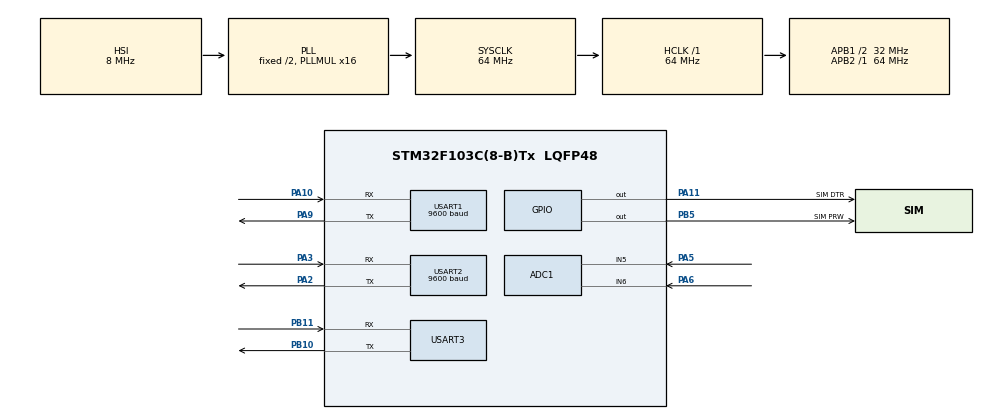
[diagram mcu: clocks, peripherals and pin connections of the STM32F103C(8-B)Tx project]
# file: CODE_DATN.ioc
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ADC1.Channel-0\#ChannelRegularConversion=ADC_CHANNEL_5
ADC1.Channel-1\#ChannelRegularConversion=ADC_CHANNEL_6
ADC1.ContinuousConvMode=ENABLE
ADC1.NbrOfConversion=2
ADC1.NbrOfConversionFlag=1
ADC1.Rank-0\#ChannelRegularConversion=1
ADC1.Rank-1\#ChannelRegularConversion=2
ADC1.SamplingTime-0\#ChannelRegularConversion=ADC_SAMPLETIME_239CYCLES_5
ADC1.SamplingTime-1\#ChannelRegularConversion=ADC_SAMPLETIME_239CYCLES_5
ADC1.master=1
Dma.ADC1.0.Direction=DMA_PERIPH_TO_MEMORY
Dma.ADC1.0.Instance=DMA1_Channel1
Dma.ADC1.0.MemDataAlignment=DMA_MDATAALIGN_HALFWORD
Dma.ADC1.0.MemInc=DMA_MINC_ENABLE
Dma.ADC1.0.Mode=DMA_CIRCULAR
Dma.ADC1.0.PeriphDataAlignment=DMA_PDATAALIGN_HALFWORD
Dma.ADC1.0.PeriphInc=DMA_PINC_DISABLE
Dma.ADC1.0.Priority=DMA_PRIORITY_LOW
Dma.Request0=ADC1
Mcu.Family=STM32F1
Mcu.Name=STM32F103C(8-B)Tx
Mcu.Package=LQFP48
NVIC.DMA1_Channel1_IRQn=true\:0\:0\:false\:false\:true\:false\:true\:true
NVIC.PriorityGroup=NVIC_PRIORITYGROUP_4
NVIC.USART1_IRQn=true\:0\:0\:false\:false\:true\:true\:true\:true
NVIC.USART2_IRQn=true\:0\:0\:false\:false\:true\:true\:true\:true
NVIC.USART3_IRQn=true\:0\:0\:false\:false\:true\:true\:true\:true
PA10.Mode=Asynchronous
PA10.Signal=USART1_RX
PA11.GPIO_Label=SIM DTR
PA11.Signal=GPIO_Output
PA2.Mode=Asynchronous
PA2.Signal=USART2_TX
PA3.Mode=Asynchronous
PA3.Signal=USART2_RX
PA5.Signal=ADCx_IN5
PA6.Signal=ADCx_IN6
PA9.Mode=Asynchronous
PA9.Signal=USART1_TX
PB10.Mode=Asynchronous
PB10.Signal=USART3_TX
PB11.Mode=Asynchronous
PB11.Signal=USART3_RX
PB5.GPIO_Label=SIM PRW
PB5.Signal=GPIO_Output
ProjectManager.HeapSize=0x200
ProjectManager.StackSize=0x400
ProjectManager.TargetToolchain=MDK-ARM V5.32
RCC.ADCPresc=RCC_ADCPCLK2_DIV6
RCC.AHBFreq_Value=64000000
RCC.APB1CLKDivider=RCC_HCLK_DIV2
RCC.APB1Freq_Value=32000000
RCC.APB1TimFreq_Value=64000000
RCC.APB2Freq_Value=64000000
RCC.APB2TimFreq_Value=64000000
RCC.HCLKFreq_Value=64000000
RCC.PLLMUL=RCC_PLL_MUL16
RCC.SYSCLKFreq_VALUE=64000000
RCC.SYSCLKSource=RCC_SYSCLKSOURCE_PLLCLK
RCC.USBFreq_Value=64000000
SH.ADCx_IN5.0=ADC1_IN5,IN5
SH.ADCx_IN6.0=ADC1_IN6,IN6
USART1.BaudRate=9600
USART1.VirtualMode=VM_ASYNC
USART2.BaudRate=9600
USART2.VirtualMode=VM_ASYNC
USART3.VirtualMode=VM_ASYNC
VP_SYS_VS_ND.Mode=No_Debug
board=custom

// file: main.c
/* USER CODE BEGIN Header */
/**
  ******************************************************************************
  * @file           : main.c
  * @brief          : Main program body
  ******************************************************************************
  * @attention
  *
  * Copyright (c) 2024 STMicroelectronics.
  * All rights reserved.
  *
  * This software is licensed under terms that can be found in the LICENSE file
  * in the root directory of this software component.
  * If no LICENSE file comes with this software, it is provided AS-IS.
  *
  ******************************************************************************
  */
/* USER CODE END Header */
#include "main.h"

/* USER CODE BEGIN Includes */
#include "stdio.h"
#include <math.h>
#include <string.h>
/* USER CODE END Includes */

/* USER CODE BEGIN PD */
#define V_CC 5
#define RO 2.12
#define RL 10
/* USER CODE END PD */

ADC_HandleTypeDef hadc1;
DMA_HandleTypeDef hdma_adc1;

UART_HandleTypeDef huart1;
UART_HandleTypeDef huart2;
UART_HandleTypeDef huart3;

/* USER CODE BEGIN PV */
uint8_t state=0;

uint8_t Rx_dataDust[32];
uint8_t PmsTransfer_cplt = 0;
uint8_t inFrame = 0;
uint8_t detectOff = 0;
unsigned char Buff_Sensor[32];
uint8_t txData[12];
uint8_t frameLen;
char message[20];
uint32_t PM1_0_temp;
uint32_t PM2_5_temp;
uint32_t PM10_0_temp;

uint16_t var,dem=0;
double volts,first;
uint16_t peak=0;
uint16_t max=0;
uint16_t min=4096;
char buffer[50];
char sound_char[20];
float sound_level,value,sum,TB;
uint16_t adc[2];
float RS;
float CO=0;
	float CO_ppm (uint16_t adc_value)
{
	float VRL = adc_value * (V_CC / 4096.0);
	float RS = ((V_CC / VRL)-1)*RL;
	float ratio = RS/RO;
	float ppm = pow ((19.709/ratio), (1/0.652));
	return ppm;
}
 float MAX4466 ( uint16_t var)
 {
							if (var < 4096)
							{
								if (var > max)
								{
									max = var;
								}
								else if (var < min)
								{
									min = var;
								}
							}
							peak = max - min;
					volts=((peak*3.3)/4096)*0.707;
					first=log10(volts/0.00631)*20;
					return sound_level=first+1.;
					max=0;
					min=4096;
 }
/* USER CODE END PV */

void SystemClock_Config(void);
static void MX_GPIO_Init(void);
static void MX_DMA_Init(void);
static void MX_ADC1_Init(void);
static void MX_USART1_UART_Init(void);
static void MX_USART2_UART_Init(void);
static void MX_USART3_UART_Init(void);

/* USER CODE BEGIN 0 */
struct ValueSensor
{
	uint32_t PM1;		// um/g
	uint32_t PM2_5;	// um/g
	uint32_t PM10_0;	// um/g
	uint32_t CO;
	uint32_t Sound;
} ;
struct ValueSensor 		ValueSensor_t;

void HAL_UART_RxCpltCallback(UART_HandleTypeDef *huart)
{
    //-Interrupt-Function-for-Read-DUST-Data-------------------------------------------------------------------//
    if (huart->Instance == USART2)
    {
        HAL_UART_Receive_IT(&huart2, (uint8_t *)Rx_dataDust, 1);

        if (inFrame == 0)
        {
            if (Rx_dataDust[0] == 0x42 && detectOff == 0)
            {
                Buff_Sensor[detectOff] = Rx_dataDust[0];
                detectOff++;
            }
            else if (Rx_dataDust[0] == 0x4D && detectOff == 1)
            {
                Buff_Sensor[detectOff] = Rx_dataDust[0];
                inFrame = 1;
                detectOff++;
            }
        }
        else
        {
            Buff_Sensor[detectOff] = Rx_dataDust[0];
            detectOff++;
            frameLen = Buff_Sensor[3] + (Buff_Sensor[2] << 8) + 4;
            if (detectOff >= frameLen)
            {
                PmsTransfer_cplt = 1;
            }
        }
    }
}

int CheckSumFuncDust(unsigned char *buf)
{
    int checkSum = (buf[30] << 8) + buf[31];
    int sum = 0x42;
    for (int i = 1; i < 30; i++)
    {
        sum = sum + buf[i];
    }
    return sum == checkSum;
}

void getPMAS007_Value()
{

		ValueSensor_t.PM1    = 0;
		ValueSensor_t.PM2_5  = 0;
		ValueSensor_t.PM10_0 = 0;
    if (PmsTransfer_cplt == 1)
    {
        if (CheckSumFuncDust(Buff_Sensor))
        {
            // Extract and process data here
            // Example:
						PM1_0_temp 	= Buff_Sensor[11]+(Buff_Sensor[10]<<8);
						PM2_5_temp	= Buff_Sensor[13]+(Buff_Sensor[12]<<8);
						PM10_0_temp 	= Buff_Sensor[15]+(Buff_Sensor[14]<<8);
						detectOff = 0;
						inFrame = 0;
						PmsTransfer_cplt =0;
						ValueSensor_t.PM1 		=	PM1_0_temp;
						ValueSensor_t.PM2_5		=	PM2_5_temp;
						ValueSensor_t.PM10_0	= PM10_0_temp;

        }
        //printf("Pm1(ug/m3)     : %d\r\n", ValueSensor_t.PM1);
				//printf("Pm2_5(ug/m3)   : %d\r\n", ValueSensor_t.PM2_5);
				//printf("Pm10_0(ug/m3)  : %d\r\n", ValueSensor_t.PM10_0);
				//char buffer[50];
				//sprintf(buffer, "PM1: %u, PM2.5: %u, PM10: %u\n", PM1_0_temp, PM1_0_temp, PM10_0_temp);
				//HAL_UART_Transmit(&huart3, (uint8_t *)buffer, strlen(buffer), HAL_MAX_DELAY);
    }
}
void Start_ADC_DMA()
{
	uint32_t adc_value;
	HAL_ADC_Start_DMA(&hadc1, (uint32_t*)adc_value, 2);
}
void HAL_ADC_ConvCpltCallback(ADC_HandleTypeDef* hadc) {
    if (hadc->Instance == ADC1)
		{
				sound_level = round(MAX4466(adc[0]));
				CO = round(CO_ppm(adc[1]));
				ValueSensor_t.CO		=	CO;
				ValueSensor_t.Sound	= sound_level;
    }
}
void getADC_Value()
{
	 Start_ADC_DMA();
}
void sendData()
{
//	int Buff_Data[10];
//	Buff_Data[0] 	= 	ValueSensor_t.CO;
//	Buff_Data[1] 	= 	ValueSensor_t.Sound;
//	Buff_Data[2] 	= 	ValueSensor_t.PM1>>8;
//	Buff_Data[3] 	=  	ValueSensor_t.PM1&0xFF;
//	Buff_Data[4] 	= 	ValueSensor_t.PM2_5>>8;
//	Buff_Data[5] 	=		ValueSensor_t.PM2_5&0xFF;
//	Buff_Data[6] 	= 	ValueSensor_t.PM10_0>>8;
//	Buff_Data[7] 	= 	ValueSensor_t.PM10_0&0xFF;
//
//	int sumData = 0;
//
//	for(int i=0; i<8; i++)
//	{
//		sumData += Buff_Data[i];
//	}
//	Buff_Data[8] = sumData>>8;
//	Buff_Data[9] = sumData&0xFF;
//	for (int i=0;i<=9;i++)
//	{
//		HAL_UART_Transmit(&huart3,(uint8_t*)&Buff_Data[i], 1, 100);
//	}
				char buffer[50];
				sprintf(buffer, "CO: %.2f, Sound: %.2f, PM1: %u, PM2.5: %u, PM10: %u\n", CO, sound_level, PM1_0_temp, PM1_0_temp, PM10_0_temp);
				HAL_UART_Transmit(&huart3, (uint8_t *)buffer, strlen(buffer), HAL_MAX_DELAY);
}
/* USER CODE END 0 */

int main(void)
{

  /* MCU Configuration--------------------------------------------------------*/

  /* Reset of all peripherals, Initializes the Flash interface and the Systick. */
  HAL_Init();

  /* Configure the system clock */
  SystemClock_Config();

  /* Initialize all configured peripherals */
  MX_GPIO_Init();
  MX_DMA_Init();
  MX_ADC1_Init();
  MX_USART1_UART_Init();
  MX_USART2_UART_Init();
  MX_USART3_UART_Init();
  /* USER CODE BEGIN 2 */
 HAL_UART_Receive_IT(&huart2, (uint8_t *)Rx_dataDust, 1);
  /* USER CODE END 2 */

  /* Infinite loop */
  while (1)
  {

    /* USER CODE BEGIN 3 */
			if(state==1)
			{
				getADC_Value();
//				HAL_ADC_Start_DMA(&hadc1,adc , 2);
//				uint32_t start= HAL_GetTick();
//				while(HAL_GetTick()-start<50)
//					{
//				sound_level = round(MAX4466(adc[0]));
//				//sprintf(sound_char,"%.2f",sound_level);
//				CO = round(CO_ppm(adc[1]));
//				//sprintf(buffer, "%.2f", CO);
					//}
			}
		if (state==2)
			{
				getPMAS007_Value();

			}
		if (state ==3)
		{
			sendData();
			state =0;
		}
		state++;
		HAL_Delay(1000);
  }
  /* USER CODE END 3 */
}

void SystemClock_Config(void)
{
  RCC_OscInitTypeDef RCC_OscInitStruct = {0};
  RCC_ClkInitTypeDef RCC_ClkInitStruct = {0};
  RCC_PeriphCLKInitTypeDef PeriphClkInit = {0};

  /** Initializes the RCC Oscillators according to the specified parameters
  * in the RCC_OscInitTypeDef structure.
  */
  RCC_OscInitStruct.OscillatorType = RCC_OSCILLATORTYPE_HSI;
  RCC_OscInitStruct.HSIState = RCC_HSI_ON;
  RCC_OscInitStruct.HSICalibrationValue = RCC_HSICALIBRATION_DEFAULT;
  RCC_OscInitStruct.PLL.PLLState = RCC_PLL_ON;
  RCC_OscInitStruct.PLL.PLLSource = RCC_PLLSOURCE_HSI_DIV2;
  RCC_OscInitStruct.PLL.PLLMUL = RCC_PLL_MUL16;
  if (HAL_RCC_OscConfig(&RCC_OscInitStruct) != HAL_OK)
  {
    Error_Handler();
  }

  /** Initializes the CPU, AHB and APB buses clocks
  */
  RCC_ClkInitStruct.ClockType = RCC_CLOCKTYPE_HCLK|RCC_CLOCKTYPE_SYSCLK
                              |RCC_CLOCKTYPE_PCLK1|RCC_CLOCKTYPE_PCLK2;
  RCC_ClkInitStruct.SYSCLKSource = RCC_SYSCLKSOURCE_PLLCLK;
  RCC_ClkInitStruct.AHBCLKDivider = RCC_SYSCLK_DIV1;
  RCC_ClkInitStruct.APB1CLKDivider = RCC_HCLK_DIV2;
  RCC_ClkInitStruct.APB2CLKDivider = RCC_HCLK_DIV1;

  if (HAL_RCC_ClockConfig(&RCC_ClkInitStruct, FLASH_LATENCY_2) != HAL_OK)
  {
    Error_Handler();
  }
  PeriphClkInit.PeriphClockSelection = RCC_PERIPHCLK_ADC;
  PeriphClkInit.AdcClockSelection = RCC_ADCPCLK2_DIV6;
  if (HAL_RCCEx_PeriphCLKConfig(&PeriphClkInit) != HAL_OK)
  {
    Error_Handler();
  }
}

static void MX_ADC1_Init(void)
{

  ADC_ChannelConfTypeDef sConfig = {0};

  /** Common config
  */
  hadc1.Instance = ADC1;
  hadc1.Init.ScanConvMode = ADC_SCAN_ENABLE;
  hadc1.Init.ContinuousConvMode = ENABLE;
  hadc1.Init.DiscontinuousConvMode = DISABLE;
  hadc1.Init.ExternalTrigConv = ADC_SOFTWARE_START;
  hadc1.Init.DataAlign = ADC_DATAALIGN_RIGHT;
  hadc1.Init.NbrOfConversion = 2;
  if (HAL_ADC_Init(&hadc1) != HAL_OK)
  {
    Error_Handler();
  }

  /** Configure Regular Channel
  */
  sConfig.Channel = ADC_CHANNEL_5;
  sConfig.Rank = ADC_REGULAR_RANK_1;
  sConfig.SamplingTime = ADC_SAMPLETIME_239CYCLES_5;
  if (HAL_ADC_ConfigChannel(&hadc1, &sConfig) != HAL_OK)
  {
    Error_Handler();
  }

  /** Configure Regular Channel
  */
  sConfig.Channel = ADC_CHANNEL_6;
  sConfig.Rank = ADC_REGULAR_RANK_2;
  if (HAL_ADC_ConfigChannel(&hadc1, &sConfig) != HAL_OK)
  {
    Error_Handler();
  }

}

static void MX_USART1_UART_Init(void)
{

  huart1.Instance = USART1;
  huart1.Init.BaudRate = 9600;
  huart1.Init.WordLength = UART_WORDLENGTH_8B;
  huart1.Init.StopBits = UART_STOPBITS_1;
  huart1.Init.Parity = UART_PARITY_NONE;
  huart1.Init.Mode = UART_MODE_TX_RX;
  huart1.Init.HwFlowCtl = UART_HWCONTROL_NONE;
  huart1.Init.OverSampling = UART_OVERSAMPLING_16;
  if (HAL_UART_Init(&huart1) != HAL_OK)
  {
    Error_Handler();
  }

}

static void MX_USART2_UART_Init(void)
{

  huart2.Instance = USART2;
  huart2.Init.BaudRate = 9600;
  huart2.Init.WordLength = UART_WORDLENGTH_8B;
  huart2.Init.StopBits = UART_STOPBITS_1;
  huart2.Init.Parity = UART_PARITY_NONE;
  huart2.Init.Mode = UART_MODE_TX_RX;
  huart2.Init.HwFlowCtl = UART_HWCONTROL_NONE;
  huart2.Init.OverSampling = UART_OVERSAMPLING_16;
  if (HAL_UART_Init(&huart2) != HAL_OK)
  {
    Error_Handler();
  }

}

static void MX_USART3_UART_Init(void)
{

  huart3.Instance = USART3;
  huart3.Init.BaudRate = 115200;
  huart3.Init.WordLength = UART_WORDLENGTH_8B;
  huart3.Init.StopBits = UART_STOPBITS_1;
  huart3.Init.Parity = UART_PARITY_NONE;
  huart3.Init.Mode = UART_MODE_TX_RX;
  huart3.Init.HwFlowCtl = UART_HWCONTROL_NONE;
  huart3.Init.OverSampling = UART_OVERSAMPLING_16;
  if (HAL_UART_Init(&huart3) != HAL_OK)
  {
    Error_Handler();
  }

}

static void MX_DMA_Init(void)
{

  /* DMA controller clock enable */
  __HAL_RCC_DMA1_CLK_ENABLE();

  /* DMA interrupt init */
  /* DMA1_Channel1_IRQn interrupt configuration */
  HAL_NVIC_SetPriority(DMA1_Channel1_IRQn, 0, 0);
  HAL_NVIC_EnableIRQ(DMA1_Channel1_IRQn);

}

static void MX_GPIO_Init(void)
{
  GPIO_InitTypeDef GPIO_InitStruct = {0};

  /* GPIO Ports Clock Enable */
  __HAL_RCC_GPIOA_CLK_ENABLE();
  __HAL_RCC_GPIOB_CLK_ENABLE();

  /*Configure GPIO pin Output Level */
  HAL_GPIO_WritePin(SIM_DTR_GPIO_Port, SIM_DTR_Pin, GPIO_PIN_RESET);

  /*Configure GPIO pin Output Level */
  HAL_GPIO_WritePin(SIM_PRW_GPIO_Port, SIM_PRW_Pin, GPIO_PIN_RESET);

  /*Configure GPIO pin : SIM_DTR_Pin */
  GPIO_InitStruct.Pin = SIM_DTR_Pin;
  GPIO_InitStruct.Mode = GPIO_MODE_OUTPUT_PP;
  GPIO_InitStruct.Pull = GPIO_NOPULL;
  GPIO_InitStruct.Speed = GPIO_SPEED_FREQ_LOW;
  HAL_GPIO_Init(SIM_DTR_GPIO_Port, &GPIO_InitStruct);

  /*Configure GPIO pin : SIM_PRW_Pin */
  GPIO_InitStruct.Pin = SIM_PRW_Pin;
  GPIO_InitStruct.Mode = GPIO_MODE_OUTPUT_PP;
  GPIO_InitStruct.Pull = GPIO_NOPULL;
  GPIO_InitStruct.Speed = GPIO_SPEED_FREQ_LOW;
  HAL_GPIO_Init(SIM_PRW_GPIO_Port, &GPIO_InitStruct);

}

void Error_Handler(void)
{
  __disable_irq();
  while (1)
  {
  }
}
